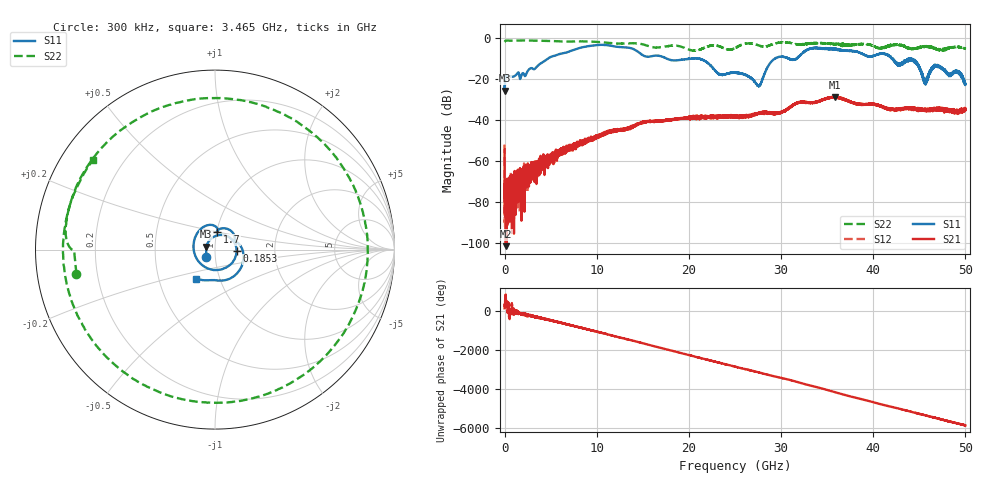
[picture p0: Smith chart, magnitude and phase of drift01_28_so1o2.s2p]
!Created with skrf (http://scikit-rf.org).
# Hz S RI R 50.0
!freq ReS11 ImS11 ReS21 ImS21 ReS12 ImS12 ReS22 ImS22
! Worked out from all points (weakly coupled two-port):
!   10001 points, 300 kHz to 50 GHz, reference 50 ohm
!   highest |S21| = -28.82 dB at 35.87 GHz (marker M1); lowest = -101.5 dB at 190.3 MHz (marker M2)
!   lowest |S11| = -25.8 dB at 5.3 MHz (marker M3), VSWR 1.11, Z = 45.3 + j1.43 ohm
!   |S11| at or under -10 dB: start of sweep to 4.766 GHz; 17.51 GHz to 29.41 GHz (11.9 GHz wide, 50.7 % of centre); 43.99 GHz to end of sweep (the widest 3 of 14)
!   |S22| runs from -6.4 to -1.4 dB; largest |S21 - S12| = 0.0039
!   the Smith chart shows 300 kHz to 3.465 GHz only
!   S11 on the Smith chart (normalised r, x): 300 kHz: 0.90, -0.08; 185.3 MHz: 1.27, -0.02; 1.7 GHz: 1.00, +0.20; 3.465 GHz: 0.77, -0.26
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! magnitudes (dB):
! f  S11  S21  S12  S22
! 300 kHz  -23.7  -54.4  -52.1  -2.1
! 5.3 MHz  -25.8  -74.9  -73.6  -2.1
! 185.3 MHz  -18.4  -77.2  -80.3  -1.4
! 190.3 MHz  -18.3  -101.5  -74.9  -1.4
! 380.3 MHz  -18.5  -77.4  -72.2  -1.4
! 1.7 GHz  -20.1  -69.2  -65.9  -1.4
! 3.465 GHz  -14.3  -64.0  -62.4  -1.5
! 8.335 GHz  -4.8  -50.8  -51.2  -1.8
! 16.67 GHz  -8.7  -40.7  -40.7  -4.8
! 25 GHz  -17.0  -38.3  -38.3  -5.1
! 27.59 GHz  -23.6  -36.8  -36.6  -3.8
! 29.28 GHz  -10.3  -37.0  -36.5  -2.8
! 31.45 GHz  -10.7  -32.4  -32.4  -3.0
! 33.34 GHz  -5.1  -31.5  -31.6  -2.7
! 35.87 GHz  -5.4  -28.8  -29.1  -3.2
! 41.67 GHz  -8.8  -34.6  -34.9  -4.3
! 42.73 GHz  -13.2  -34.6  -34.7  -3.3
! 44.44 GHz  -11.2  -34.5  -34.7  -5.3
! 45.63 GHz  -21.4  -35.5  -35.1  -4.3
! 46.9 GHz  -13.8  -34.2  -34.3  -5.4
! 49.21 GHz  -16.4  -35.8  -35.2  -4.4
! 50 GHz  -22.5  -34.9  -35.3  -5.4
